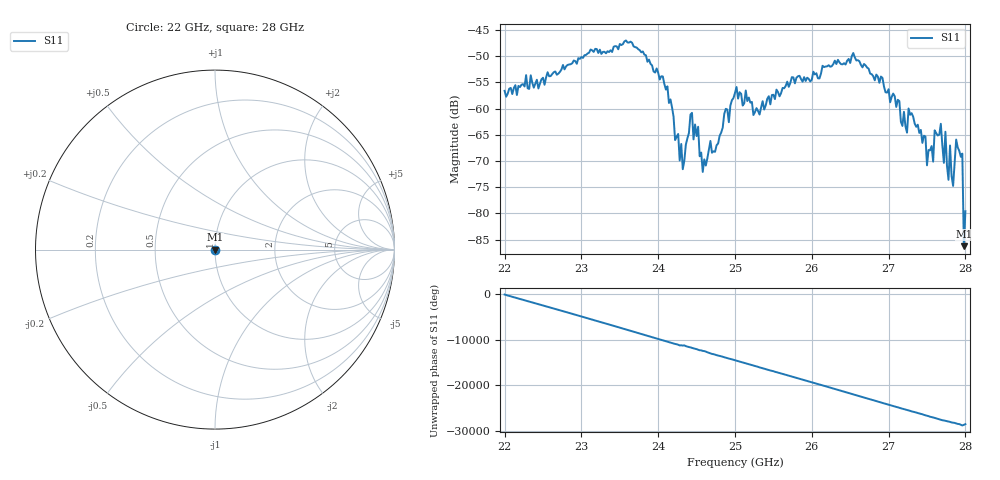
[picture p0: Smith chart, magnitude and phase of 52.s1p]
#  HZ  S  RI  R  50.00
! Rohde & Schwarz ZVA40 4Ports - Version 3.90 - 1145.1110k42 SN: 100403
! Date: 2023-10-04 08:51:41
! Measurement: S12
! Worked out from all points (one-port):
!   301 points, 22 GHz to 28 GHz, reference 50 ohm
!   lowest |S11| = -86.3 dB at 27.98 GHz (marker M1), VSWR 1.00, Z = 50 + j0.0041 ohm
!   |S11| at or under -10 dB: start of sweep to end of sweep
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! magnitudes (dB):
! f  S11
! 22 GHz  -56.6
! 22.76 GHz  -51.7
! 23.5 GHz  -47.7
! 24.06 GHz  -53.9
! 24.26 GHz  -64.8
! 24.32 GHz  -71.6
! 24.44 GHz  -60.8
! 24.52 GHz  -63.5
! 24.58 GHz  -72.1
! 25 GHz  -57.0
! 25.32 GHz  -61.1
! 25.76 GHz  -54.0
! 26.5 GHz  -51.3
! 26.92 GHz  -54.1
! 27.24 GHz  -64.6
! 27.26 GHz  -60.0
! 27.48 GHz  -65.3
! 27.5 GHz  -70.8
! 27.68 GHz  -62.9
! 27.72 GHz  -70.4
! 27.74 GHz  -64.4
! 27.78 GHz  -73.6
! 27.8 GHz  -67.0
! 27.84 GHz  -74.8
! 27.88 GHz  -65.9
! 27.96 GHz  -68.6
! 27.98 GHz  -86.3
! 28 GHz  -79.6
